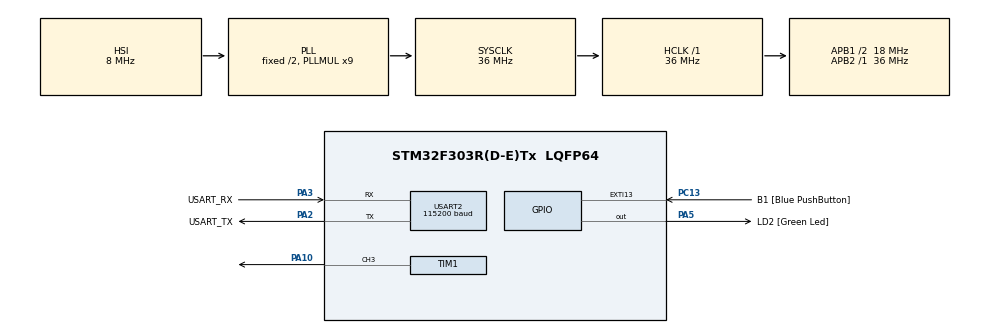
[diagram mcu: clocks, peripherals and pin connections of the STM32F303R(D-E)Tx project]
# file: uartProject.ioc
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Mcu.Family=STM32F3
Mcu.Name=STM32F303R(D-E)Tx
Mcu.Package=LQFP64
NVIC.PriorityGroup=NVIC_PRIORITYGROUP_0
NVIC.USART2_IRQn=true\:0\:0\:false\:false\:true\:true\:true\:true
PA10.Signal=S_TIM1_CH3
PA13.GPIO_Label=TMS
PA13.Mode=Serial_Wire
PA13.Signal=SYS_JTMS-SWDIO
PA14.GPIO_Label=TCK
PA14.Mode=Serial_Wire
PA14.Signal=SYS_JTCK-SWCLK
PA2.GPIO_Label=USART_TX
PA2.GPIO_Mode=GPIO_MODE_AF_PP
PA2.GPIO_PuPd=GPIO_NOPULL
PA2.GPIO_Speed=GPIO_SPEED_FREQ_LOW
PA2.Mode=Asynchronous
PA2.Signal=USART2_TX
PA3.GPIO_Label=USART_RX
PA3.GPIO_Mode=GPIO_MODE_AF_PP
PA3.GPIO_PuPd=GPIO_NOPULL
PA3.GPIO_Speed=GPIO_SPEED_FREQ_LOW
PA3.Mode=Asynchronous
PA3.Signal=USART2_RX
PA5.GPIO_Label=LD2 [Green Led]
PA5.GPIO_Mode=GPIO_MODE_OUTPUT_PP
PA5.GPIO_PuPd=GPIO_NOPULL
PA5.GPIO_Speed=GPIO_SPEED_FREQ_LOW
PA5.Signal=GPIO_Output
PB3.GPIO_Label=SWO
PB3.Signal=SYS_JTDO-TRACESWO
PC13.GPIO_Label=B1 [Blue PushButton]
PC13.GPIO_ModeDefaultEXTI=GPIO_MODE_IT_FALLING
PC13.Signal=GPXTI13
PC14-OSC32_IN.Mode=LSE-External-Oscillator
PC14-OSC32_IN.Signal=RCC_OSC32_IN
PC15-OSC32_OUT.Mode=LSE-External-Oscillator
PC15-OSC32_OUT.Signal=RCC_OSC32_OUT
PF0-OSC_IN.Mode=HSE-External-Clock-Source
PF0-OSC_IN.Signal=RCC_OSC_IN
PF1-OSC_OUT.Signal=RCC_OSC_OUT
ProjectManager.HeapSize=0x200
ProjectManager.StackSize=0x400
ProjectManager.TargetToolchain=STM32CubeIDE
RCC.AHBFreq_Value=36000000
RCC.APB1CLKDivider=RCC_HCLK_DIV2
RCC.APB1Freq_Value=18000000
RCC.APB1TimFreq_Value=36000000
RCC.APB2Freq_Value=36000000
RCC.APB2TimFreq_Value=36000000
RCC.CortexFreq_Value=36000000
RCC.HCLKFreq_Value=36000000
RCC.HSE_VALUE=8000000
RCC.HSI_VALUE=8000000
RCC.PLLM=8
RCC.PLLMUL=RCC_PLL_MUL9
RCC.PLLN=336
RCC.PLLP=RCC_PLLP_DIV4
RCC.PLLQ=7
RCC.RCC_PLLsource_Clock_Source_FROM_HSE=RCC_HSE_PREDIV_DIV2
RCC.SYSCLKFreq_VALUE=36000000
RCC.SYSCLKSourceVirtual=RCC_SYSCLKSOURCE_PLLCLK
RCC.USBFreq_Value=36000000
SH.S_TIM1_CH3.0=TIM1_CH3,PWM Generation3 CH3
TIM1.Channel-PWM\ Generation3\ CH3=TIM_CHANNEL_3
TIM1.Period=19999
TIM1.Prescaler=35
USART2.BaudRate=115200
USART2.VirtualMode-Asynchronous=VM_ASYNC
board=NUCLEO-F303RE

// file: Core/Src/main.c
/* USER CODE BEGIN Header */
/**
  ******************************************************************************
  * @file           : main.c
  * @brief          : Main program body
  ******************************************************************************
  * @attention
  *
  * Copyright (c) 2026 STMicroelectronics.
  * All rights reserved.
  *
  * This software is licensed under terms that can be found in the LICENSE file
  * in the root directory of this software component.
  * If no LICENSE file comes with this software, it is provided AS-IS.
  *
  ******************************************************************************
  */
/* USER CODE END Header */
#include "main.h"

TIM_HandleTypeDef htim1;

UART_HandleTypeDef huart2;

/* USER CODE BEGIN PV */
uint8_t rx_data;
char rx_buffer[32];
uint8_t rx_index = 0;
volatile uint8_t command_ready = 0;
char current[50];
/* USER CODE END PV */

void SystemClock_Config(void);
static void MX_GPIO_Init(void);
static void MX_USART2_UART_Init(void);
static void MX_TIM1_Init(void);

/* USER CODE BEGIN 0 */
#include <stdlib.h>
#include <string.h>

void servoTurn(uint32_t angle) {
    if (angle > 180) angle = 180;

    uint32_t pulse = 500 + ((2500 - 500) * angle) / 180;
    __HAL_TIM_SET_COMPARE(&htim1, TIM_CHANNEL_3, pulse);
}
/* USER CODE END 0 */

int main(void)
{

  /* MCU Configuration--------------------------------------------------------*/

  /* Reset of all peripherals, Initializes the Flash interface and the Systick. */
  HAL_Init();

  /* Configure the system clock */
  SystemClock_Config();

  /* Initialize all configured peripherals */
  MX_GPIO_Init();
  MX_USART2_UART_Init();
  MX_TIM1_Init();
  /* USER CODE BEGIN 2 */
    HAL_TIM_PWM_Start(&htim1, TIM_CHANNEL_3);
    __HAL_TIM_MOE_ENABLE(&htim1);
    HAL_UART_Receive_IT(&huart2, &rx_data, 1);
    HAL_UART_Transmit(&huart2, (uint8_t*)"SERVO KONTROL HAZIR\r\n", 21, 100);
  /* USER CODE END 2 */

  /* Infinite loop */
  /* USER CODE BEGIN WHILE */
    while (1)
    {
        if (command_ready)
        {
            if (rx_buffer[0] == 'A' || rx_buffer[0] == 'a')
            {
                int angle = atoi((char *)&rx_buffer[1]);

                if (angle >= 0 && angle <= 180)
                {
                    servoTurn(angle);
                    snprintf(current, sizeof(current), "Current angle is %d\r\n", angle);

                    HAL_UART_Transmit(&huart2, (uint8_t*)"OK\r\n", 4, 100);
                    HAL_UART_Transmit(&huart2, (uint8_t*)current, strlen(current), 100);
                }
                else
                {
                    HAL_UART_Transmit(&huart2, (uint8_t*)"Error: 0-180\r\n", 14, 100);
                }
            }
            else if (rx_buffer[0] == 'R' || rx_buffer[0] == 'r')
            {
                if (strlen(current) > 0)
                {
                    HAL_UART_Transmit(&huart2, (uint8_t*)current, strlen(current), 100);
                }
                else
                {
                    HAL_UART_Transmit(&huart2, (uint8_t*)"Current angle is 90\r\n", 21, 100);
                }
            }
            else if(rx_buffer[0] == 'S' || rx_buffer[0] == 's')
            {
                servoTurn(0);
                HAL_Delay(500);
                servoTurn(180);
                HAL_Delay(500);
                servoTurn(90);
                HAL_Delay(100);

                snprintf(current, sizeof(current), "Current angle is 90\r\n");
                HAL_UART_Transmit(&huart2, (uint8_t*)"OK: SUPURME TAMAMLANDI\r\n", 24, 100);
            }
            else
            {
                HAL_UART_Transmit(&huart2, (uint8_t*)"Error: Unknown command\r\n", 24, 100);
            }

            memset(rx_buffer, 0, sizeof(rx_buffer));
            rx_index = 0;
            command_ready = 0;
        }
    /* USER CODE END WHILE */

    }
}

void SystemClock_Config(void)
{
  RCC_OscInitTypeDef RCC_OscInitStruct = {0};
  RCC_ClkInitTypeDef RCC_ClkInitStruct = {0};
  RCC_PeriphCLKInitTypeDef PeriphClkInit = {0};

  /** Initializes the RCC Oscillators according to the specified parameters
  * in the RCC_OscInitTypeDef structure.
  */
  RCC_OscInitStruct.OscillatorType = RCC_OSCILLATORTYPE_HSI;
  RCC_OscInitStruct.HSIState = RCC_HSI_ON;
  RCC_OscInitStruct.HSICalibrationValue = RCC_HSICALIBRATION_DEFAULT;
  RCC_OscInitStruct.PLL.PLLState = RCC_PLL_ON;
  RCC_OscInitStruct.PLL.PLLSource = RCC_PLLSOURCE_HSI;
  RCC_OscInitStruct.PLL.PLLMUL = RCC_PLL_MUL9;
  RCC_OscInitStruct.PLL.PREDIV = RCC_PREDIV_DIV1;
  if (HAL_RCC_OscConfig(&RCC_OscInitStruct) != HAL_OK)
  {
    Error_Handler();
  }

  /** Initializes the CPU, AHB and APB buses clocks
  */
  RCC_ClkInitStruct.ClockType = RCC_CLOCKTYPE_HCLK|RCC_CLOCKTYPE_SYSCLK
                              |RCC_CLOCKTYPE_PCLK1|RCC_CLOCKTYPE_PCLK2;
  RCC_ClkInitStruct.SYSCLKSource = RCC_SYSCLKSOURCE_PLLCLK;
  RCC_ClkInitStruct.AHBCLKDivider = RCC_SYSCLK_DIV1;
  RCC_ClkInitStruct.APB1CLKDivider = RCC_HCLK_DIV2;
  RCC_ClkInitStruct.APB2CLKDivider = RCC_HCLK_DIV1;

  if (HAL_RCC_ClockConfig(&RCC_ClkInitStruct, FLASH_LATENCY_1) != HAL_OK)
  {
    Error_Handler();
  }
  PeriphClkInit.PeriphClockSelection = RCC_PERIPHCLK_USART2|RCC_PERIPHCLK_TIM1;
  PeriphClkInit.Usart2ClockSelection = RCC_USART2CLKSOURCE_PCLK1;
  PeriphClkInit.Tim1ClockSelection = RCC_TIM1CLK_HCLK;
  if (HAL_RCCEx_PeriphCLKConfig(&PeriphClkInit) != HAL_OK)
  {
    Error_Handler();
  }
}

static void MX_TIM1_Init(void)
{

  TIM_MasterConfigTypeDef sMasterConfig = {0};
  TIM_OC_InitTypeDef sConfigOC = {0};
  TIM_BreakDeadTimeConfigTypeDef sBreakDeadTimeConfig = {0};

  htim1.Instance = TIM1;
  htim1.Init.Prescaler = 71;
  htim1.Init.CounterMode = TIM_COUNTERMODE_UP;
  htim1.Init.Period = 19999;
  htim1.Init.ClockDivision = TIM_CLOCKDIVISION_DIV1;
  htim1.Init.RepetitionCounter = 0;
  htim1.Init.AutoReloadPreload = TIM_AUTORELOAD_PRELOAD_DISABLE;
  if (HAL_TIM_PWM_Init(&htim1) != HAL_OK)
  {
    Error_Handler();
  }
  sMasterConfig.MasterOutputTrigger = TIM_TRGO_RESET;
  sMasterConfig.MasterOutputTrigger2 = TIM_TRGO2_RESET;
  sMasterConfig.MasterSlaveMode = TIM_MASTERSLAVEMODE_DISABLE;
  if (HAL_TIMEx_MasterConfigSynchronization(&htim1, &sMasterConfig) != HAL_OK)
  {
    Error_Handler();
  }
  sConfigOC.OCMode = TIM_OCMODE_PWM1;
  sConfigOC.Pulse = 0;
  sConfigOC.OCPolarity = TIM_OCPOLARITY_HIGH;
  sConfigOC.OCNPolarity = TIM_OCNPOLARITY_HIGH;
  sConfigOC.OCFastMode = TIM_OCFAST_DISABLE;
  sConfigOC.OCIdleState = TIM_OCIDLESTATE_RESET;
  sConfigOC.OCNIdleState = TIM_OCNIDLESTATE_RESET;
  if (HAL_TIM_PWM_ConfigChannel(&htim1, &sConfigOC, TIM_CHANNEL_3) != HAL_OK)
  {
    Error_Handler();
  }
  sBreakDeadTimeConfig.OffStateRunMode = TIM_OSSR_DISABLE;
  sBreakDeadTimeConfig.OffStateIDLEMode = TIM_OSSI_DISABLE;
  sBreakDeadTimeConfig.LockLevel = TIM_LOCKLEVEL_OFF;
  sBreakDeadTimeConfig.DeadTime = 0;
  sBreakDeadTimeConfig.BreakState = TIM_BREAK_DISABLE;
  sBreakDeadTimeConfig.BreakPolarity = TIM_BREAKPOLARITY_HIGH;
  sBreakDeadTimeConfig.BreakFilter = 0;
  sBreakDeadTimeConfig.Break2State = TIM_BREAK2_DISABLE;
  sBreakDeadTimeConfig.Break2Polarity = TIM_BREAK2POLARITY_HIGH;
  sBreakDeadTimeConfig.Break2Filter = 0;
  sBreakDeadTimeConfig.AutomaticOutput = TIM_AUTOMATICOUTPUT_DISABLE;
  if (HAL_TIMEx_ConfigBreakDeadTime(&htim1, &sBreakDeadTimeConfig) != HAL_OK)
  {
    Error_Handler();
  }
  HAL_TIM_MspPostInit(&htim1);

}

static void MX_USART2_UART_Init(void)
{

  huart2.Instance = USART2;
  huart2.Init.BaudRate = 115200;
  huart2.Init.WordLength = UART_WORDLENGTH_8B;
  huart2.Init.StopBits = UART_STOPBITS_1;
  huart2.Init.Parity = UART_PARITY_NONE;
  huart2.Init.Mode = UART_MODE_TX_RX;
  huart2.Init.HwFlowCtl = UART_HWCONTROL_NONE;
  huart2.Init.OverSampling = UART_OVERSAMPLING_16;
  huart2.Init.OneBitSampling = UART_ONE_BIT_SAMPLE_DISABLE;
  huart2.AdvancedInit.AdvFeatureInit = UART_ADVFEATURE_NO_INIT;
  if (HAL_UART_Init(&huart2) != HAL_OK)
  {
    Error_Handler();
  }

}

static void MX_GPIO_Init(void)
{
  GPIO_InitTypeDef GPIO_InitStruct = {0};

  /* GPIO Ports Clock Enable */
  __HAL_RCC_GPIOC_CLK_ENABLE();
  __HAL_RCC_GPIOF_CLK_ENABLE();
  __HAL_RCC_GPIOA_CLK_ENABLE();
  __HAL_RCC_GPIOB_CLK_ENABLE();

  /*Configure GPIO pin Output Level */
  HAL_GPIO_WritePin(LD2_GPIO_Port, LD2_Pin, GPIO_PIN_RESET);

  /*Configure GPIO pin : B1_Pin */
  GPIO_InitStruct.Pin = B1_Pin;
  GPIO_InitStruct.Mode = GPIO_MODE_IT_FALLING;
  GPIO_InitStruct.Pull = GPIO_NOPULL;
  HAL_GPIO_Init(B1_GPIO_Port, &GPIO_InitStruct);

  /*Configure GPIO pin : LD2_Pin */
  GPIO_InitStruct.Pin = LD2_Pin;
  GPIO_InitStruct.Mode = GPIO_MODE_OUTPUT_PP;
  GPIO_InitStruct.Pull = GPIO_NOPULL;
  GPIO_InitStruct.Speed = GPIO_SPEED_FREQ_LOW;
  HAL_GPIO_Init(LD2_GPIO_Port, &GPIO_InitStruct);

}

/* USER CODE BEGIN 4 */
void HAL_UART_RxCpltCallback(UART_HandleTypeDef *huart)
{
    if (huart->Instance == USART2)
    {
        if (rx_data == '\n' || rx_data == '\r')
        {
            if (rx_index > 0)
            {
                rx_buffer[rx_index] = '\0';
                command_ready = 1;
            }
        }
        else
        {
            if (rx_index < 31)
            {
                rx_buffer[rx_index++] = rx_data;
            }
        }

        HAL_UART_Receive_IT(&huart2, &rx_data, 1);
    }
}
/* USER CODE END 4 */

void Error_Handler(void)
{
  __disable_irq();
  while (1)
  {
  }
}
